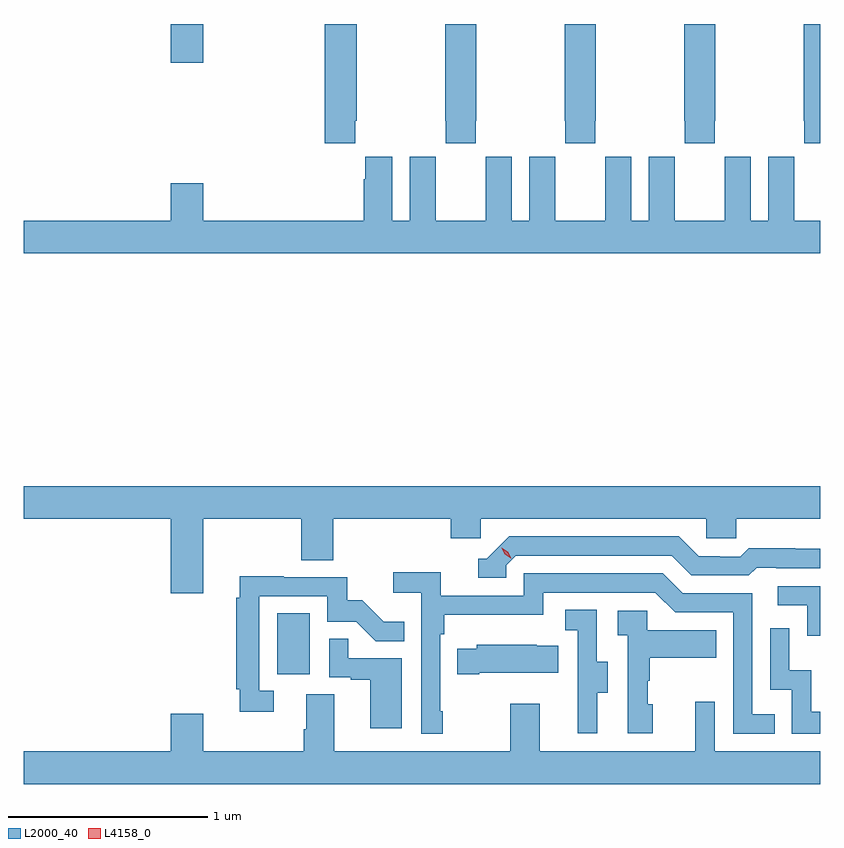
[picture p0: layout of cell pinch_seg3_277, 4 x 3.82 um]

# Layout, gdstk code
import gdstk
lib = gdstk.Library(unit=1e-6, precision=1e-09)
def R(c, l, rs):  # rectangles x0, y0, x1, y1
    for r in rs: c.add(gdstk.rectangle(r[:2], r[2:], *l))
def P(c, l, *ps):  # polygons
    for p in ps: c.add(gdstk.Polygon(p, *l))
L2000_40 = (2000, 40)
L4158_0 = (4158, 0)

pinch_seg3_277 = lib.new_cell('pinch_seg3_277')
R(pinch_seg3_277, L2000_40, [(920.786,708.126,920.95,708.433), (920.252,711.198,920.416,711.392)])
P(pinch_seg3_277, L2000_40, [(921.179,710.905),(921.186,710.905),(921.186,711.392),(921.026,711.392),(921.026,710.793),(921.179,710.793)],
  [(923.514,711.392),(923.431,711.392),(923.431,710.905),(923.433,710.905),(923.433,710.793),(923.514,710.793)],
  [(922.983,710.905),(922.986,710.905),(922.986,711.392),(922.831,711.392),(922.831,710.905),(922.833,710.905),(922.833,710.793),(922.983,710.793)],
  [(922.383,710.905),(922.386,710.905),(922.386,711.392),(922.231,711.392),(922.231,710.905),(922.233,710.905),(922.233,710.793),(922.383,710.793)],
  [(921.783,710.905),(921.786,710.905),(921.786,711.392),(921.631,711.392),(921.631,710.905),(921.633,710.905),(921.633,710.793),(921.783,710.793)],
  [(923.514,710.404),(923.383,710.404),(923.383,710.612),(923.382,710.612),(923.382,710.725),(923.252,710.725),(923.252,710.404),(923.164,710.404),(923.164,710.725),(923.034,710.725),(923.034,710.612),(923.033,710.612),(923.033,710.404),(922.783,710.404),(922.783,710.612),(922.782,710.612),(922.782,710.725),(922.652,710.725),(922.652,710.404),(922.564,710.404),(922.564,710.725),(922.434,710.725),(922.434,710.612),(922.433,710.612),(922.433,710.404),(922.183,710.404),(922.183,710.612),(922.182,710.612),(922.182,710.725),(922.052,710.725),(922.052,710.404),(921.964,710.404),(921.964,710.725),(921.834,710.725),(921.834,710.612),(921.833,710.612),(921.833,710.404),(921.583,710.404),(921.583,710.612),(921.582,710.612),(921.582,710.725),(921.452,710.725),(921.452,710.404),(921.364,710.404),(921.364,710.725),(921.23,710.725),(921.23,710.612),(921.221,710.612),(921.221,710.404),(920.416,710.404),(920.416,710.593),(920.252,710.593),(920.252,710.404),(919.514,710.404),(919.514,710.24),(923.514,710.24)],
  [(920.416,708.908),(920.908,708.908),(920.908,708.7),(921.068,708.7),(921.068,708.908),(921.659,708.908),(921.659,708.81),(921.81,708.81),(921.81,708.908),(922.941,708.908),(922.941,708.81),(923.091,708.81),(923.091,708.908),(923.514,708.908),(923.514,709.072),(919.514,709.072),(919.514,708.908),(920.252,708.908),(920.252,708.534),(920.416,708.534)],
  [(921.936,708.675),(921.984,708.723),(922.767,708.723),(922.866,708.624),(923.155,708.624),(923.194,708.663),(923.293,708.663),(923.293,708.66),(923.514,708.66),(923.514,708.757),(923.388,708.757),(923.388,708.76),(923.155,708.76),(923.113,708.717),(923.01,708.717),(923.01,708.72),(922.903,708.72),(922.804,708.819),(921.951,708.819),(921.84,708.708),(921.797,708.708),(921.797,708.612),(921.936,708.612)],
  [(921.619,707.941),(921.606,707.941),(921.606,708.329),(921.626,708.329),(921.626,708.425),(922.122,708.425),(922.122,708.537),(922.686,708.537),(922.785,708.438),(923.076,708.438),(923.076,707.829),(923.285,707.829),(923.285,707.925),(923.172,707.925),(923.172,708.534),(922.822,708.534),(922.723,708.633),(922.026,708.633),(922.026,708.522),(921.608,708.522),(921.608,708.638),(921.369,708.638),(921.369,708.536),(921.51,708.536),(921.51,707.829),(921.619,707.829)],
  [(920.77,708.045),(920.697,708.045),(920.697,708.519),(921.039,708.519),(921.039,708.39),(921.183,708.39),(921.281,708.292),(921.425,708.292),(921.425,708.391),(921.321,708.391),(921.214,708.498),(921.138,708.498),(921.138,708.615),(920.819,708.615),(920.819,708.62),(920.6,708.62),(920.6,708.512),(920.581,708.512),(920.581,708.052),(920.6,708.052),(920.6,707.94),(920.77,707.94)],
  [(923.514,708.57),(923.301,708.57),(923.301,708.474),(923.448,708.474),(923.448,708.321),(923.514,708.321)],
  [(922.393,708.034),(922.447,708.034),(922.447,708.189),(922.392,708.189),(922.392,708.452),(922.233,708.452),(922.233,708.349),(922.296,708.349),(922.296,708.045),(922.295,708.045),(922.295,707.832),(922.393,707.832)],
  [(922.672,707.976),(922.647,707.976),(922.647,708.095),(922.657,708.095),(922.657,708.209),(922.991,708.209),(922.991,708.349),(922.644,708.349),(922.644,708.447),(922.497,708.447),(922.497,708.323),(922.548,708.323),(922.548,707.832),(922.672,707.832)],
  [(923.514,707.938),(923.468,707.938),(923.468,708.146),(923.358,708.146),(923.358,708.358),(923.262,708.358),(923.262,708.048),(923.37,708.048),(923.37,707.829),(923.514,707.829)],
  [(921.412,708.207),(921.143,708.207),(921.143,708.305),(921.048,708.305),(921.048,708.111),(921.155,708.111),(921.155,708.099),(921.254,708.099),(921.254,707.856),(921.412,707.856)],
  [(921.802,708.134),(922.199,708.134),(922.199,708.271),(922.091,708.271),(922.091,708.274),(921.789,708.274),(921.789,708.256),(921.691,708.256),(921.691,708.127),(921.802,708.127)],
  [(923.514,707.74),(922.983,707.74),(922.983,707.989),(922.886,707.989),(922.886,707.74),(922.105,707.74),(922.105,707.98),(921.958,707.98),(921.958,707.74),(921.073,707.74),(921.073,708.026),(920.933,708.026),(920.933,707.852),(920.921,707.852),(920.921,707.74),(920.416,707.74),(920.416,707.929),(920.252,707.929),(920.252,707.74),(919.514,707.74),(919.514,707.576),(923.514,707.576)])
P(pinch_seg3_277, L4158_0, [(921.96,708.71),(921.93,708.729),(921.914,708.762),(921.914,708.762),(921.914,708.762),(921.945,708.742),(921.961,708.71),(921.961,708.71)])

lib.write_gds('pinch_seg3_277.gds')
